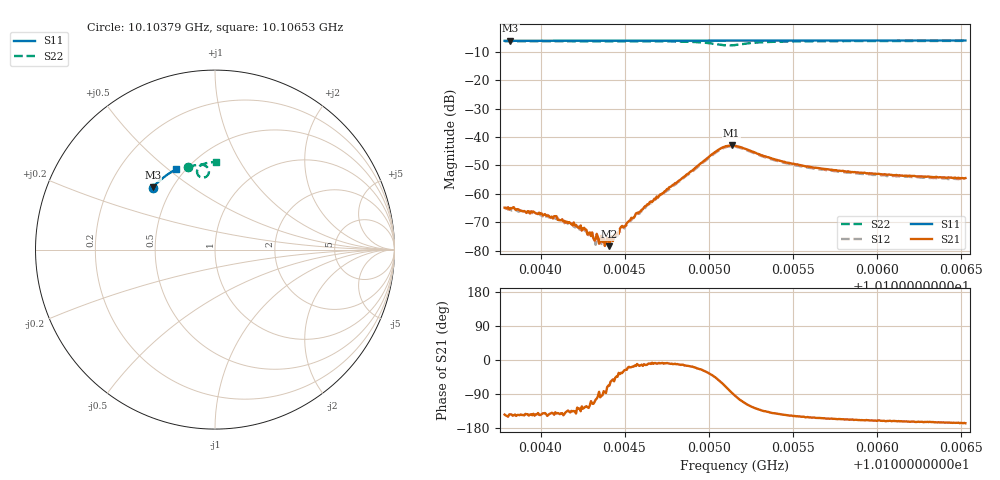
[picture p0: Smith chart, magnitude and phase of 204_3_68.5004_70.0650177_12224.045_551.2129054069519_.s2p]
#  HZ  S  RI  R  50.00
! Rohde & Schwarz Vector Network Analyzer
! Rohde-Schwarz,ZNB20-2Port,1311601062101988,3.16
! Created: UTC 3/20/2024, 5:12:53 PM
! freq[Hz]  re:S11  im:S11  re:S21  im:S21  re:S12  im:S12  re:S22  im:S22
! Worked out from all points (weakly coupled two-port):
!   401 points, 10.10379 GHz to 10.10653 GHz, reference 50 ohm
!   highest |S21| = -42.95 dB at 10.10514 GHz (marker M1); lowest = -78.3 dB at 10.10441 GHz (marker M2)
!   lowest |S11| = -6.2 dB at 10.10382 GHz (marker M3), VSWR 2.92, Z = 19.7 + j18 ohm
!   |S11| at or under -10 dB: nowhere
!   |S22| runs from -7.8 to -6.2 dB; largest |S21 - S12| = 0.00076
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1.0103786e10  -0.3479 0.3454  -0.000465 -0.000338  -0.000422 -0.000334  -0.1517 0.4579
1.010382e10  -0.3463 0.347  -0.000455 -0.000337  -0.000414 -0.00033  -0.1495 0.4588
1.0104053e10  -0.3367 0.3574  -0.000314 -0.000245  -0.000277 -0.000268  -0.1338 0.464
1.0104081e10  -0.3354 0.3584  -0.000331 -0.000236  -0.000293 -0.000244  -0.132 0.4646
1.0104245e10  -0.3284 0.3656  -0.000123 -0.000193  -0.000122 -0.000191  -0.1201 0.4679
1.0104307e10  -0.3256 0.3682  -8.81e-05 -0.000192  -8.54e-05 -0.000183  -0.1154 0.4691
1.0104314e10  -0.3254 0.3687  -7.32e-05 -0.000151  -5.28e-05 -0.00016  -0.115 0.4692
1.0104341e10  -0.3241 0.3698  -1.77e-05 -0.000174  3.35e-06 -0.000151  -0.1131 0.4696
1.0104396e10  -0.3217 0.3719  5.29e-05 -0.000162  4.2e-05 -0.000138  -0.1085 0.4706
1.010441e10  -0.3211 0.3727  4.63e-05 -0.000112  8.97e-05 -0.000122  -0.1075 0.4708
1.0104424e10  -0.3206 0.3731  0.000106 -0.000146  0.000111 -0.000128  -0.1064 0.4711
1.0104451e10  -0.3193 0.3743  0.000141 -0.000135  0.000155 -0.00011  -0.1041 0.4716
1.0104485e10  -0.3176 0.3756  0.000226 -0.000156  0.000199 -0.000101  -0.1011 0.472
1.0104533e10  -0.3156 0.3777  0.000325 -0.000116  0.000329 -4.33e-05  -0.0969 0.4727
1.0104705e10  -0.3078 0.3846  0.000916 -0.000124  0.000904 -7.41e-05  -0.0796 0.4738
1.0105048e10  -0.2915 0.3975  0.00375 -0.00423  0.00399 -0.00371  -0.0347 0.4259
1.0105137e10  -0.2875 0.4007  0.000516 -0.0071  0.00119 -0.00676  -0.0715 0.4012
1.0105157e10  -0.2866 0.4016  -0.000509 -0.00702  0.000125 -0.0068  -0.0821 0.4043
1.010539e10  -0.2757 0.4102  -0.00314 -0.00261  -0.00281 -0.00273  -0.0881 0.4626
1.0105617e10  -0.2644 0.4183  -0.00259 -0.00138  -0.00237 -0.00155  -0.0649 0.4768
1.0106076e10  -0.241 0.4334  -0.00206 -0.000735  -0.00193 -0.000862  -0.0281 0.4854
1.0106528e10  -0.2173 0.4471  -0.00185 -0.000433  -0.00173 -0.000598  0.00359 0.4882
